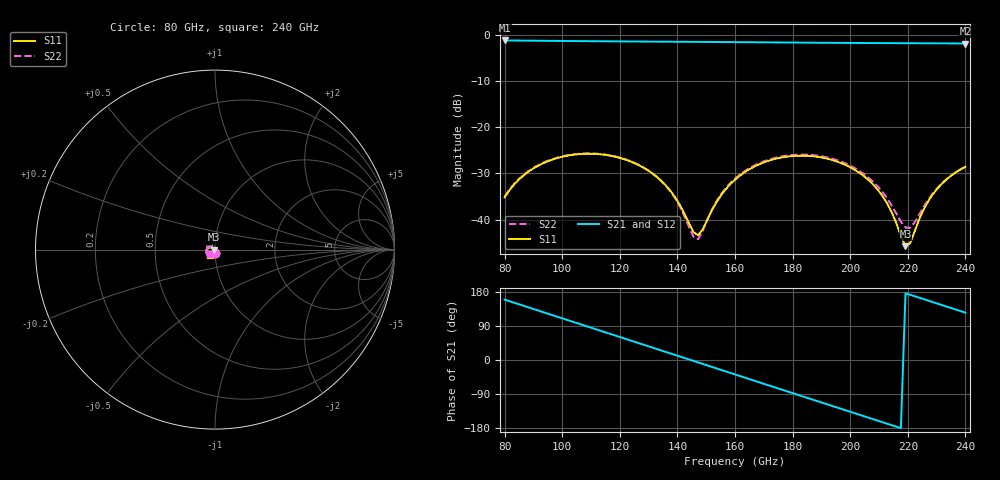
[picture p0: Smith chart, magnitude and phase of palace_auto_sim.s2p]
#  GHZ S DB R 50
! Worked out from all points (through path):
!   101 points, 80 GHz to 240 GHz, reference 50 ohm
!   highest |S21| = -1.27 dB at 80 GHz (marker M1); lowest = -1.9 dB at 240 GHz (marker M2)
!   group delay of S21, straight-line fit = 6.85 ps
!   lowest |S11| = -45.7 dB at 219.2 GHz (marker M3), VSWR 1.01, Z = 49.5 - j0.016 ohm
!   |S11| at or under -10 dB: start of sweep to end of sweep
!   |S22| runs from -44.2 to -25.7 dB; largest |S21 - S12| = 9.4e-14
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80  -35.15 -89.7  -1.27 159.4  -1.27 159.4  -34.97 -87.0
84.8  -31.41 -95.6  -1.30 147.5  -1.30 147.5  -31.26 -93.8
91.2  -28.47 -108.9  -1.33 131.7  -1.33 131.7  -28.34 -107.4
99.2  -26.51 -127.5  -1.38 111.9  -1.38 111.9  -26.41 -126.3
107.2  -25.77 -146.6  -1.42 92.2  -1.42 92.2  -25.69 -145.5
120  -26.63 -176.5  -1.48 60.6  -1.48 60.6  -26.58 -175.7
134.4  -31.57 154.8  -1.53 25.1  -1.53 25.1  -31.65 155.1
140.8  -36.74 151.9  -1.56 9.3  -1.56 9.3  -37.08 151.7
145.6  -42.69 -180.0  -1.57 -2.5  -1.57 -2.5  -43.72 -176.8
147.2  -43.33 -156.4  -1.58 -6.5  -1.58 -6.5  -44.17 -149.3
153.6  -36.16 -113.2  -1.60 -22.3  -1.60 -22.3  -35.95 -107.9
160  -31.33 -117.4  -1.63 -38.1  -1.63 -38.1  -31.09 -113.5
174.4  -26.78 -146.0  -1.70 -73.6  -1.70 -73.6  -26.55 -142.6
187.2  -26.29 -174.9  -1.76 -105.2  -1.76 -105.2  -26.04 -171.2
203.2  -29.86 150.5  -1.82 -144.5  -1.82 -144.5  -29.45 156.1
209.6  -33.53 140.2  -1.84 -160.2  -1.84 -160.2  -32.84 147.9
214.4  -38.35 139.8  -1.85 -172.0  -1.85 -172.0  -36.91 150.3
219.2  -45.70 -178.2  -1.86 176.1  -1.86 176.1  -41.67 -178.0
220.8  -45.10 -146.2  -1.87 172.2  -1.87 172.2  -41.74 -158.2
222.4  -42.46 -126.3  -1.87 168.3  -1.87 168.3  -40.55 -141.5
228.8  -34.40 -114.3  -1.89 152.5  -1.89 152.5  -34.21 -121.7
240  -28.56 -132.4  -1.93 124.8  -1.93 124.8  -28.55 -135.3
